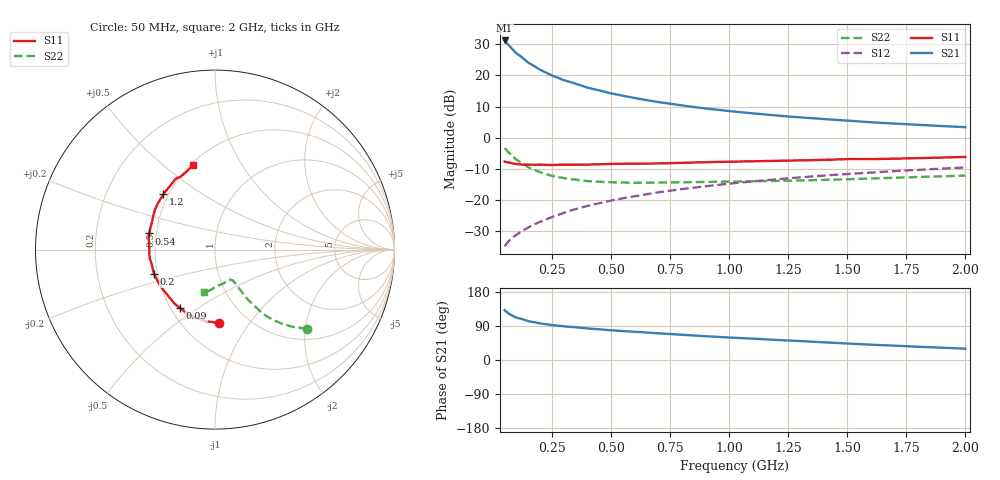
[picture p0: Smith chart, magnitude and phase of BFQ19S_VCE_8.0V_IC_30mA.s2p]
! Infineon Technologies  Discrete & RF Semiconductors
! BFQ19S
! VCE =  8.0 V,  IC =  30 mA
! Common Emitter S-Parameters:  Jan 2016
# GHz  S  MA  R  50
!  f  S11  S21  S12  S22
! GHz  MAG  ANG  MAG  ANG  MAG  ANG  MAG  ANG
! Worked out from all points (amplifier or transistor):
!   391 points, 50 MHz to 2 GHz, reference 50 ohm
!   highest |S21| = 31.3 dB at 50 MHz (marker M1)
!   |S21| within 3 dB of that: start of sweep to 85.34 MHz
!   unconditionally stable (mu >= 1): 365.9 MHz to 1.478 GHz; 1.577 GHz to 1.611 GHz
!   at 375 MHz: K = 1.00, MAG = 19.3 dB, |S12| = -22.5 dB
!   at 1.025 GHz: K = 1.03, MAG = 10.4 dB, |S12| = -14.7 dB
!   at 2 GHz: K = 0.96, MSG = 6.5 dB, |S12| = -9.6 dB
!   S11 on the Smith chart (normalised r, x): 50 MHz: 0.74, -0.73; 90 MHz: 0.56, -0.42; 200 MHz: 0.48, -0.15; 540 MHz: 0.46, +0.10; 1.2 GHz: 0.47, +0.35; 2 GHz: 0.51, +0.64
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0.05  0.4101 -86.9  36.67 131.2  0.0178 65.2  0.6771 -40.6
0.06  0.4016 -97.3  33.1 125.9  0.0199 64.5  0.6145 -44.6
0.07  0.3955 -106.7  29.94 121.4  0.022 63.6  0.5607 -47.7
0.08  0.3874 -114.6  27.23 117.6  0.0238 63.0  0.5146 -50.1
0.09  0.3791 -121.0  24.87 114.5  0.0257 63.0  0.4748 -52.0
0.1  0.3761 -126.9  22.81 111.7  0.0272 63.9  0.4408 -53.4
0.15  0.3664 -145.7  16.09 102.4  0.0357 65.6  0.332 -56.7
0.2  0.366 -158.3  12.36 96.5  0.0439 67.6  0.275 -57.8
0.25  0.3614 -166.4  9.994 92.2  0.0523 69.3  0.2412 -58.3
0.3  0.3674 -172.9  8.407 88.8  0.0613 69.8  0.2213 -58.6
0.375  0.3661 179.4  6.872 84.9  0.0747 70.2  0.2043 -59.5
0.4  0.3671 176.8  6.369 83.2  0.0792 70.3  0.1987 -59.9
0.5  0.3775 168.6  5.151 78.4  0.0964 70.0  0.1902 -62.0
0.54  0.3778 166.2  4.815 76.9  0.1034 69.6  0.1887 -63.1
0.6  0.3796 162.6  4.318 74.2  0.1138 69.1  0.1867 -64.9
0.7  0.3823 157.2  3.731 70.2  0.1312 68.2  0.188 -68.0
0.875  0.3988 147.8  3.025 63.7  0.1602 66.1  0.1921 -73.9
1.03  0.4099 140.4  2.602 58.5  0.1855 63.8  0.1962 -78.8
1.2  0.4228 132.9  2.257 52.9  0.2126 61.4  0.2004 -83.9
1.35  0.4324 126.2  2.05 48.4  0.2361 59.2  0.2053 -88.1
1.675  0.4548 112.8  1.701 38.5  0.2844 54.0  0.2246 -95.7
2  0.4877 104.6  1.47 29.8  0.3301 49.2  0.2441 -104.5
